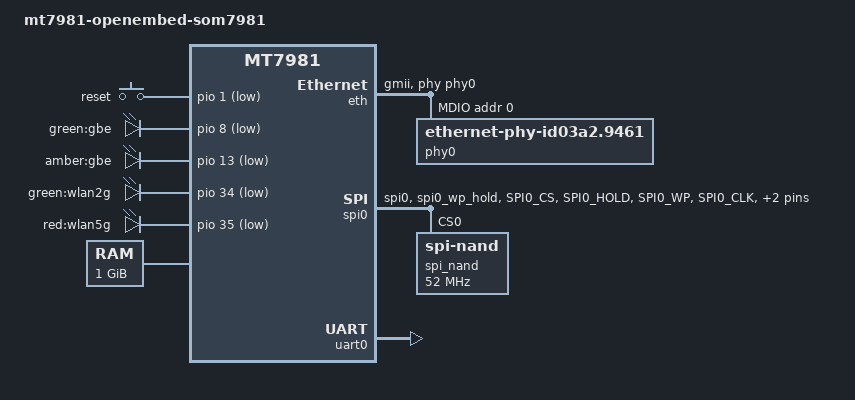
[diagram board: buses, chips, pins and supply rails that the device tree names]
// SPDX-License-Identifier: GPL-2.0-or-later OR MIT

/dts-v1/;
#include "mt7981.dtsi"
#include <dt-bindings/gpio/gpio.h>

/ {
	#address-cells = <1>;
	#size-cells = <1>;
	model = "mt7981-openembed-som7981";
	compatible = "mediatek,mt7981", "mediatek,mt7981-rfb";

	chosen {
		stdout-path = &uart0;
		tick-timer = &timer0;
	};

	config {
		bootcmd = "mtkboardboot";
		blink_led = "red:wlan5g";
		system_led = "red:wlan5g";
	};

	gpio-keys {
		compatible = "gpio-keys";

		button-reset {
			label = "reset";
			linux,code = <KEY_RESTART>;
			gpios = <&pio 1 GPIO_ACTIVE_LOW>;
		};
	};

	gpio-leds {
		compatible = "gpio-leds";

		led-0 {
			label = "green:gbe";
			gpios = <&pio 8 GPIO_ACTIVE_LOW>;
		};

		led-1 {
			label = "amber:gbe";
			gpios = <&pio 13 GPIO_ACTIVE_LOW>;
		};

		led-2 {
			label = "green:wlan2g";
			gpios = <&pio 34 GPIO_ACTIVE_LOW>;
		};

		wlan5g_led: led-3 {
			label = "red:wlan5g";
			gpios = <&pio 35 GPIO_ACTIVE_LOW>;
		};
	};

	memory@40000000 {
		device_type = "memory";
		reg = <0x40000000 0x40000000>;
	};

	bl2_verify {
		bl2_compatible = "spim-nand";
	};
};

&eth {
	status = "okay";
	mediatek,gmac-id = <1>;
	phy-mode = "gmii";
	phy-handle = <&phy0>;

	mdio {
		phy0: ethernet-phy@0 {
			compatible = "ethernet-phy-id03a2.9461";
			reg = <0>;
			phy-mode = "gmii";
		};
	};
};

&pio {
	spi_flash_pins: spi0-pins-func-1 {
		mux {
			function = "flash";
			groups = "spi0", "spi0_wp_hold";
		};

		conf-pu {
			pins = "SPI0_CS", "SPI0_HOLD", "SPI0_WP";
			drive-strength = <MTK_DRIVE_4mA>;
			bias-pull-up = <MTK_PUPD_SET_R1R0_00>;
		};

		conf-pd {
			pins = "SPI0_CLK", "SPI0_MOSI", "SPI0_MISO";
			drive-strength = <MTK_DRIVE_4mA>;
			bias-pull-down = <MTK_PUPD_SET_R1R0_00>;
		};
	};
};

&spi0 {
	#address-cells = <1>;
	#size-cells = <0>;
	pinctrl-names = "default";
	pinctrl-0 = <&spi_flash_pins>;
	status = "okay";
	must_tx;
	enhance_timing;
	dma_ext;
	ipm_design;
	support_quad;
	tick_dly = <2>;
	sample_sel = <0>;

	spi_nand@0 {
		compatible = "spi-nand";
		reg = <0>;
		spi-max-frequency = <52000000>;
	};
};

&uart0 {
	status = "okay";
};

&watchdog {
	status = "disabled";
};
